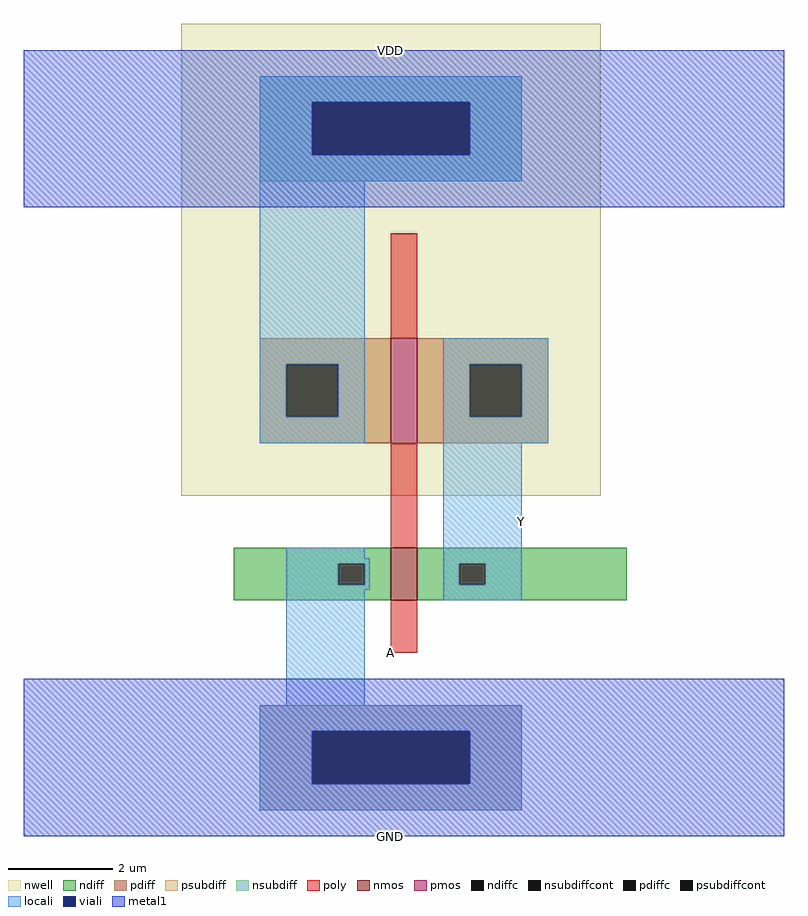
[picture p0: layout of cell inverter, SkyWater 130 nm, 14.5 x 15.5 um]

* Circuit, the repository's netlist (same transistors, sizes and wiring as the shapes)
* NGSPICE file created from inverter.ext - technology: sky130A

.subckt inverter A Y VDD GND
X0 Y A GND GND sky130_fd_pr__nfet_01v8 ad=4 pd=10 as=3 ps=8 w=1 l=0.5
X1 Y A VDD VDD sky130_fd_pr__pfet_01v8 ad=5 pd=9 as=5 ps=9 w=2 l=0.5
.ends

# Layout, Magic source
magic
tech sky130A
<< nwell >>
rect -350 50 450 950
<< nmos >>
rect 50 -150 100 -50
<< pmos >>
rect 50 150 100 350
<< ndiff >>
rect -250 -80 50 -50
rect -250 -120 -50 -80
rect 0 -120 50 -80
rect -250 -150 50 -120
rect 100 -80 500 -50
rect 100 -120 180 -80
rect 230 -120 500 -80
rect 100 -150 500 -120
<< pdiff >>
rect -200 300 50 350
rect -200 200 -150 300
rect -50 200 50 300
rect -200 150 50 200
rect 100 300 350 350
rect 100 200 200 300
rect 300 200 350 300
rect 100 150 350 200
<< ndiffc >>
rect -50 -120 0 -80
rect 180 -120 230 -80
<< pdiffc >>
rect -150 200 -50 300
rect 200 200 300 300
<< psubdiff >>
rect -200 -400 300 -350
rect -200 -500 -100 -400
rect 200 -500 300 -400
rect -200 -550 300 -500
<< nsubdiff >>
rect -200 800 300 850
rect -200 700 -100 800
rect 200 700 300 800
rect -200 650 300 700
<< psubdiffcont >>
rect -100 -500 200 -400
<< nsubdiffcont >>
rect -100 700 200 800
<< poly >>
rect 50 350 100 550
rect 50 -50 100 150
rect 50 -250 100 -150
<< locali >>
rect -200 800 300 850
rect -200 700 -100 800
rect 200 700 300 800
rect -200 650 300 700
rect -200 300 0 650
rect -200 200 -150 300
rect -50 200 0 300
rect -200 150 0 200
rect 150 300 350 350
rect 150 200 200 300
rect 300 200 350 300
rect 150 150 350 200
rect -150 -70 0 -50
rect -150 -80 10 -70
rect -150 -120 -50 -80
rect 0 -120 10 -80
rect -150 -130 10 -120
rect 150 -80 300 150
rect 150 -120 180 -80
rect 230 -120 300 -80
rect -150 -350 0 -130
rect 150 -150 300 -120
rect -200 -400 300 -350
rect -200 -500 -100 -400
rect 200 -500 300 -400
rect -200 -550 300 -500
<< viali >>
rect -100 700 200 800
rect -100 -500 200 -400
<< metal1 >>
rect -650 800 800 900
rect -650 700 -100 800
rect 200 700 800 800
rect -650 600 800 700
rect -650 -400 800 -300
rect -650 -500 -100 -400
rect 200 -500 800 -400
rect -650 -600 800 -500
<< labels >>
rlabel poly 50 -250 50 -250 7 A
port 1 w
rlabel locali 300 0 300 0 3 Y
port 2 e
rlabel metal1 50 900 50 900 7 VDD
port 3 w
rlabel metal1 50 -600 50 -600 7 GND
port 4 w
<< end >>
